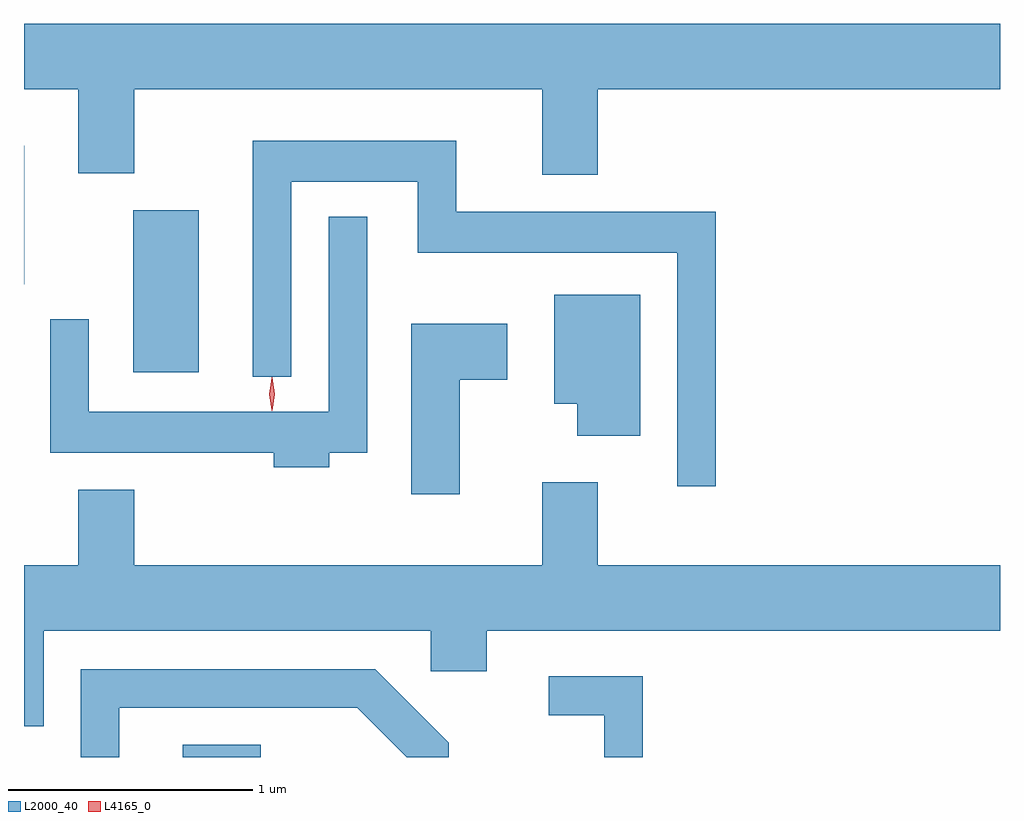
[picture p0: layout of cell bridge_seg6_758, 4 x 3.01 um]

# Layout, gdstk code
import gdstk
lib = gdstk.Library(unit=1e-6, precision=1e-09)
def R(c, l, rs):  # rectangles x0, y0, x1, y1
    for r in rs: c.add(gdstk.rectangle(r[:2], r[2:], *l))
def P(c, l, *ps):  # polygons
    for p in ps: c.add(gdstk.Polygon(p, *l))
L2000_40 = (2000, 40)
L4165_0 = (4165, 0)

bridge_seg6_758 = lib.new_cell('bridge_seg6_758')
R(bridge_seg6_758, L2000_40, [(418.598,1578.378,418.919,1578.429), (418.396,1579.956,418.664,1580.619), (417.948,1580.316,417.949,1580.884)])
P(bridge_seg6_758, L2000_40, [(420.299,1581.116),(421.948,1581.116),(421.948,1581.384),(417.948,1581.384),(417.948,1581.116),(418.171,1581.116),(418.171,1580.771),(418.399,1580.771),(418.399,1581.116),(420.071,1581.116),(420.071,1580.766),(420.299,1580.766)],
  [(420.784,1580.614),(419.719,1580.614),(419.719,1580.904),(418.886,1580.904),(418.886,1579.938),(419.044,1579.938),(419.044,1580.736),(419.561,1580.736),(419.561,1580.446),(420.626,1580.446),(420.626,1579.488),(420.784,1579.488)],
  [(419.199,1579.626),(419.354,1579.626),(419.354,1580.593),(419.196,1580.593),(419.196,1579.794),(418.214,1579.794),(418.214,1580.173),(418.056,1580.173),(418.056,1579.626),(418.971,1579.626),(418.971,1579.566),(419.199,1579.566)],
  [(420.474,1580.274),(420.121,1580.274),(420.121,1579.826),(420.216,1579.826),(420.216,1579.696),(420.474,1579.696)],
  [(419.734,1579.926),(419.929,1579.926),(419.929,1580.154),(419.536,1580.154),(419.536,1579.456),(419.734,1579.456)],
  [(418.029,1578.896),(419.616,1578.896),(419.616,1578.731),(419.844,1578.731),(419.844,1578.896),(421.948,1578.896),(421.948,1579.164),(420.299,1579.164),(420.299,1579.504),(420.071,1579.504),(420.071,1579.164),(418.399,1579.164),(418.399,1579.474),(418.171,1579.474),(418.171,1579.164),(417.948,1579.164),(417.948,1578.506),(418.029,1578.506)],
  [(418.339,1578.581),(419.314,1578.581),(419.517,1578.378),(419.689,1578.378),(419.689,1578.437),(419.387,1578.739),(418.181,1578.739),(418.181,1578.378),(418.339,1578.378)],
  [(420.484,1578.709),(420.098,1578.709),(420.098,1578.551),(420.326,1578.551),(420.326,1578.378),(420.484,1578.378)])
P(bridge_seg6_758, L4165_0, [(418.965,1579.797),(418.964,1579.798),(418.955,1579.866),(418.964,1579.936),(418.965,1579.936),(418.966,1579.936),(418.975,1579.866),(418.966,1579.798)],
  [(418.964,1579.799),(418.964,1579.8),(418.954,1579.866),(418.964,1579.932),(418.964,1579.933),(418.965,1579.932),(418.974,1579.866),(418.965,1579.8)])

lib.write_gds('bridge_seg6_758.gds')
